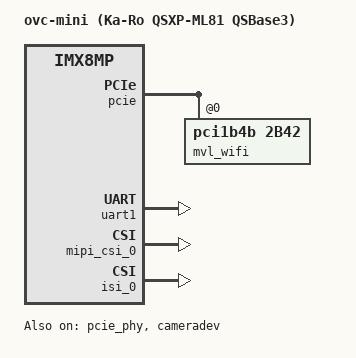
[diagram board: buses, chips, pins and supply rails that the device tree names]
// SPDX-License-Identifier: (GPL-2.0 OR MIT)
/*
 * Copyright (C) 2020 Markus Bauer <mb@karo-electronics.de>
 *
 */

/dts-v1/;

#include "imx8mp-qsxp-ml81.dts"
#include "imx8mp-qsxp-ml81-qsbase3.dtsi"

/ {
	model = "ovc-mini (Ka-Ro QSXP-ML81 QSBase3)";

/*
	reserved-memory {
	  #address-cells = <2>;
	  #size-cells = <2>;
	  ranges;

	  cma_buffer: framebuffer@0 {
		 compatible = "shared-dma-pool";
		 reusable;
		 size = <0x0 0x10000000>;
		 label = "cma_buffer";
		 linux,cma-default;
	  };
	};

	udmabuf@0 {
	  compatible = "ikwzm,u-dma-buf";
	  device-name = "cam0_0";
	  size = <0x1000000>; // 16 MB
	  sync-size = <0x1000000>; // 16 MB
	  sync-direction = <2>; // From device
	  //dma-coherent; // Guaranteed cache coherency
	  memory_region = <&cma_buffer>;
	};

	udmabuf@1 {
	  compatible = "ikwzm,u-dma-buf";
	  device-name = "cam0_1";
	  size = <0x1000000>; // 16 MB
	  sync-size = <0x1000000>; // 16 MB
	  sync-direction = <2>; // From device
	  //dma-coherent; // Guaranteed cache coherency
	  memory_region = <&cma_buffer>;
	};

	udmabuf@2 {
	  compatible = "ikwzm,u-dma-buf";
	  device-name = "cam0_2";
	  size = <0x1000000>; // 16 MB
	  sync-size = <0x1000000>; // 16 MB
	  sync-direction = <2>; // From device
	  //dma-coherent; // Guaranteed cache coherency
	  memory_region = <&cma_buffer>;
	};

	udmabuf@3 {
	  compatible = "ikwzm,u-dma-buf";
	  device-name = "cam0_3";
	  size = <0x1000000>; // 16 MB
	  sync-size = <0x1000000>; // 16 MB
	  sync-direction = <2>; // From device
	  //dma-coherent; // Guaranteed cache coherency
	  memory_region = <&cma_buffer>;
	};
*/
};

&pcie {
	status = "okay";

	mvl_wifi: wifi@0,0 {
		compatible = "pci1b4b,2b42";
		reg = <0 0 0 0 0>;
		status = "okay";
	};
};

&pcie_phy {
	status = "okay";
};

&uart1 { /* BT */
	status = "okay";
};

&mipi_csi_0 {
    #address-cells = <1>;
    #size-cells = <0>;
    status = "okay";

/*
    port@0 {
        reg = <0>;
        mipi_csi0_ep: endpoint {
            //remote-endpoint = <&ovc_cam_0>;
            data-lanes = <4>;
            csis-hs-settle = <13>;
            csis-clk-settle = <2>;
            csis-wclk;
        };
    };
*/
};

/*
&i2c2 {
	clock-frequency = <100000>;
	pinctrl-names = "default";
	pinctrl-0 = <&pinctrl_i2c2>;
	status = "okay";

	ovc_cam: sensor@10 {
		compatible = "sony,imx219";
		reg = <0x10>;
		pinctrl-names = "default";
		reset-gpios = <&gpio4 26 GPIO_ACTIVE_HIGH>;
		clocks = <&clk IMX8MP_CLK_IPP_DO_CLKO2>;
		clock-names = "xclk";
		assigned-clocks = <&clk IMX8MP_CLK_IPP_DO_CLKO2>;
		assigned-clock-parents = <&clk IMX8MP_CLK_24M>;
		assigned-clock-rates = <24000000>;
		csi_id = <0>;
		mclk = <24000000>;
		mclk_source = <0>;
		mipi_csi;
		status = "okay";

		port {
			ovc_cam_0: endpoint {
				remote-endpoint = <&mipi_csi0_ep>;
				data-lanes = <4>;
				clock-noncontinuous;
				link-frequencies = /bits/ 64 <456000000>;
			};
		};
	};
};
*/

&cameradev {
    status = "okay";
};

&isi_0 {
    status = "okay";

    cap_device {
        status = "okay";
    };

    m2m_device {
        status = "okay";
    };
};
